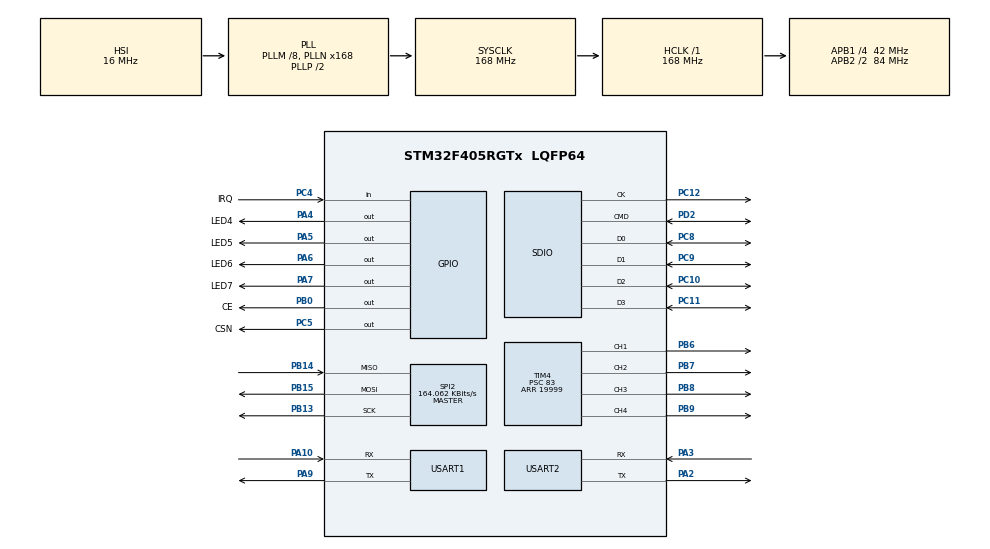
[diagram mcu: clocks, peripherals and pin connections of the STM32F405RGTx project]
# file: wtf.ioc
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Dma.Request0=SDIO
Dma.Request1=USART2_RX
Dma.SDIO.0.Direction=DMA_PERIPH_TO_MEMORY
Dma.SDIO.0.FIFOMode=DMA_FIFOMODE_ENABLE
Dma.SDIO.0.FIFOThreshold=DMA_FIFO_THRESHOLD_FULL
Dma.SDIO.0.Instance=DMA2_Stream3
Dma.SDIO.0.MemBurst=DMA_MBURST_INC4
Dma.SDIO.0.MemDataAlignment=DMA_MDATAALIGN_WORD
Dma.SDIO.0.MemInc=DMA_MINC_ENABLE
Dma.SDIO.0.Mode=DMA_PFCTRL
Dma.SDIO.0.PeriphBurst=DMA_PBURST_INC4
Dma.SDIO.0.PeriphDataAlignment=DMA_PDATAALIGN_WORD
Dma.SDIO.0.PeriphInc=DMA_PINC_DISABLE
Dma.SDIO.0.Priority=DMA_PRIORITY_HIGH
Dma.USART2_RX.1.Direction=DMA_PERIPH_TO_MEMORY
Dma.USART2_RX.1.FIFOMode=DMA_FIFOMODE_DISABLE
Dma.USART2_RX.1.Instance=DMA1_Stream5
Dma.USART2_RX.1.MemDataAlignment=DMA_MDATAALIGN_BYTE
Dma.USART2_RX.1.MemInc=DMA_MINC_ENABLE
Dma.USART2_RX.1.Mode=DMA_NORMAL
Dma.USART2_RX.1.PeriphDataAlignment=DMA_PDATAALIGN_BYTE
Dma.USART2_RX.1.PeriphInc=DMA_PINC_DISABLE
Dma.USART2_RX.1.Priority=DMA_PRIORITY_VERY_HIGH
FATFS._CODE_PAGE=936
FATFS._FS_NORTC=1
FATFS._FS_RPATH=2
FATFS._NORTC_MDAY=17
FATFS._NORTC_MON=7
FATFS._NORTC_YEAR=2017
FATFS._USE_LFN=2
Mcu.Family=STM32F4
Mcu.Name=STM32F405RGTx
Mcu.Package=LQFP64
NVIC.DMA1_Stream5_IRQn=true\:0\:2\:false\:false\:true
NVIC.DMA2_Stream3_IRQn=true\:2\:3\:true\:false\:true
NVIC.PriorityGroup=NVIC_PRIORITYGROUP_2
NVIC.SDIO_IRQn=true\:1\:3\:true\:false\:true
NVIC.TIM1_UP_TIM10_IRQn=true\:1\:2\:true\:false\:true
NVIC.TIM2_IRQn=true\:1\:1\:true\:false\:true
NVIC.TIM3_IRQn=true\:1\:0\:true\:false\:true
NVIC.USART2_IRQn=true\:0\:1\:true\:false\:true
PA10.Mode=Asynchronous
PA10.Signal=USART1_RX
PA2.Mode=Asynchronous
PA2.Signal=USART2_TX
PA3.Mode=Asynchronous
PA3.Signal=USART2_RX
PA4.GPIO_Label=LED4
PA4.GPIO_PuPd=GPIO_PULLUP
PA4.GPIO_Speed=GPIO_SPEED_FREQ_HIGH
PA4.Signal=GPIO_Output
PA5.GPIO_Label=LED5
PA5.GPIO_PuPd=GPIO_PULLUP
PA5.GPIO_Speed=GPIO_SPEED_FREQ_HIGH
PA5.Signal=GPIO_Output
PA6.GPIO_Label=LED6
PA6.GPIO_PuPd=GPIO_PULLUP
PA6.GPIO_Speed=GPIO_SPEED_FREQ_HIGH
PA6.Signal=GPIO_Output
PA7.GPIO_Label=LED7
PA7.GPIO_PuPd=GPIO_PULLUP
PA7.GPIO_Speed=GPIO_SPEED_FREQ_HIGH
PA7.Signal=GPIO_Output
PA9.Mode=Asynchronous
PA9.Signal=USART1_TX
PB0.GPIO_Label=CE
PB0.GPIO_Speed=GPIO_SPEED_FREQ_HIGH
PB0.PinState=GPIO_PIN_SET
PB0.Signal=GPIO_Output
PB13.Mode=Full_Duplex_Master
PB13.Signal=SPI2_SCK
PB14.Mode=Full_Duplex_Master
PB14.Signal=SPI2_MISO
PB15.Mode=Full_Duplex_Master
PB15.Signal=SPI2_MOSI
PB6.Signal=S_TIM4_CH1
PB7.Signal=S_TIM4_CH2
PB8.Signal=S_TIM4_CH3
PB9.Signal=S_TIM4_CH4
PC10.Mode=SD_4_bits_Wide_bus
PC10.Signal=SDIO_D2
PC11.Mode=SD_4_bits_Wide_bus
PC11.Signal=SDIO_D3
PC12.Mode=SD_4_bits_Wide_bus
PC12.Signal=SDIO_CK
PC14-OSC32_IN.Mode=LSE-External-Oscillator
PC14-OSC32_IN.Signal=RCC_OSC32_IN
PC15-OSC32_OUT.Mode=LSE-External-Oscillator
PC15-OSC32_OUT.Signal=RCC_OSC32_OUT
PC4.GPIO_Label=IRQ
PC4.Signal=GPIO_Input
PC5.GPIO_Label=CSN
PC5.GPIO_Speed=GPIO_SPEED_FREQ_HIGH
PC5.PinState=GPIO_PIN_SET
PC5.Signal=GPIO_Output
PC8.Mode=SD_4_bits_Wide_bus
PC8.Signal=SDIO_D0
PC9.Mode=SD_4_bits_Wide_bus
PC9.Signal=SDIO_D1
PD2.Mode=SD_4_bits_Wide_bus
PD2.Signal=SDIO_CMD
PH0-OSC_IN.Mode=HSE-External-Oscillator
PH0-OSC_IN.Signal=RCC_OSC_IN
PH1-OSC_OUT.Mode=HSE-External-Oscillator
PH1-OSC_OUT.Signal=RCC_OSC_OUT
ProjectManager.HeapSize=0x200
ProjectManager.StackSize=0x400
ProjectManager.TargetToolchain=MDK-ARM V5
RCC.48MHZClocksFreq_Value=48000000
RCC.AHBFreq_Value=168000000
RCC.APB1CLKDivider=RCC_HCLK_DIV4
RCC.APB1Freq_Value=42000000
RCC.APB1TimFreq_Value=84000000
RCC.APB2CLKDivider=RCC_HCLK_DIV2
RCC.APB2Freq_Value=84000000
RCC.APB2TimFreq_Value=168000000
RCC.CortexFreq_Value=168000000
RCC.HCLKFreq_Value=168000000
RCC.HSE_VALUE=8000000
RCC.HSI_VALUE=16000000
RCC.PLLM=8
RCC.PLLN=168
RCC.PLLQ=7
RCC.SYSCLKFreq_VALUE=168000000
RCC.SYSCLKSource=RCC_SYSCLKSOURCE_PLLCLK
RCC.VCOOutputFreq_Value=336000000
SDIO.ClockDiv=2
SH.S_TIM4_CH1.0=TIM4_CH1,PWM Generation1 CH1
SH.S_TIM4_CH2.0=TIM4_CH2,PWM Generation2 CH2
SH.S_TIM4_CH3.0=TIM4_CH3,PWM Generation3 CH3
SH.S_TIM4_CH4.0=TIM4_CH4,PWM Generation4 CH4
SPI2.BaudRatePrescaler=SPI_BAUDRATEPRESCALER_256
SPI2.CalculateBaudRate=164.062 KBits/s
SPI2.Direction=SPI_DIRECTION_2LINES
SPI2.Mode=SPI_MODE_MASTER
SPI2.VirtualType=VM_MASTER
TIM1.Period=10
TIM1.Prescaler=83
TIM2.Period=10
TIM2.Prescaler=83
TIM3.Period=1000
TIM3.Prescaler=83
TIM4.Channel-PWM\ Generation1\ CH1=TIM_CHANNEL_1
TIM4.Channel-PWM\ Generation2\ CH2=TIM_CHANNEL_2
TIM4.Channel-PWM\ Generation3\ CH3=TIM_CHANNEL_3
TIM4.Channel-PWM\ Generation4\ CH4=TIM_CHANNEL_4
TIM4.Period=19999
TIM4.Prescaler=83
USART1.VirtualMode=VM_ASYNC
USART2.VirtualMode=VM_ASYNC
VP_FATFS_VS_SDIO.Mode=SDIO
VP_TIM1_VS_ClockSourceINT.Mode=Internal
VP_TIM2_VS_ClockSourceINT.Mode=Internal
VP_TIM3_VS_ClockSourceINT.Mode=Internal
board=wtf

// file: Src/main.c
/**
  ******************************************************************************
  * File Name          : main.c
  * Description        : Main program body
  ******************************************************************************
  * This notice applies to any and all portions of this file
  * that are not between comment pairs USER CODE BEGIN and
  * USER CODE END. Other portions of this file, whether
  * inserted by the user or by software development tools
  * are owned by their respective copyright owners.
  *
  * Copyright (c) 2017 STMicroelectronics International N.V.
  * All rights reserved.
  *
  * Redistribution and use in source and binary forms, with or without
  * modification, are permitted, provided that the following conditions are met:
  *
  * 1. Redistribution of source code must retain the above copyright notice,
  *    this list of conditions and the following disclaimer.
  * 2. Redistributions in binary form must reproduce the above copyright notice,
  *    this list of conditions and the following disclaimer in the documentation
  *    and/or other materials provided with the distribution.
  * 3. Neither the name of STMicroelectronics nor the names of other
  *    contributors to this software may be used to endorse or promote products
  *    derived from this software without specific written permission.
  * 4. This software, including modifications and/or derivative works of this
  *    software, must execute solely and exclusively on microcontroller or
  *    microprocessor devices manufactured by or for STMicroelectronics.
  * 5. Redistribution and use of this software other than as permitted under
  *    this license is void and will automatically terminate your rights under
  *    this license.
  *
  * THIS SOFTWARE IS PROVIDED BY STMICROELECTRONICS AND CONTRIBUTORS "AS IS"
  * AND ANY EXPRESS, IMPLIED OR STATUTORY WARRANTIES, INCLUDING, BUT NOT
  * LIMITED TO, THE IMPLIED WARRANTIES OF MERCHANTABILITY, FITNESS FOR A
  * PARTICULAR PURPOSE AND NON-INFRINGEMENT OF THIRD PARTY INTELLECTUAL PROPERTY
  * RIGHTS ARE DISCLAIMED TO THE FULLEST EXTENT PERMITTED BY LAW. IN NO EVENT
  * SHALL STMICROELECTRONICS OR CONTRIBUTORS BE LIABLE FOR ANY DIRECT, INDIRECT,
  * INCIDENTAL, SPECIAL, EXEMPLARY, OR CONSEQUENTIAL DAMAGES (INCLUDING, BUT NOT
  * LIMITED TO, PROCUREMENT OF SUBSTITUTE GOODS OR SERVICES; LOSS OF USE, DATA,
  * OR PROFITS; OR BUSINESS INTERRUPTION) HOWEVER CAUSED AND ON ANY THEORY OF
  * LIABILITY, WHETHER IN CONTRACT, STRICT LIABILITY, OR TORT (INCLUDING
  * NEGLIGENCE OR OTHERWISE) ARISING IN ANY WAY OUT OF THE USE OF THIS SOFTWARE,
  * EVEN IF ADVISED OF THE POSSIBILITY OF SUCH DAMAGE.
  *
  ******************************************************************************
  */
#include "main.h"
#include "stm32f4xx_hal.h"
#include "dma.h"
//#include "fatfs.h"
#include "sdio.h"
#include "spi.h"
#include "tim.h"
#include "usart.h"
#include "gpio.h"
#include "pid.h"

/* USER CODE BEGIN PV */
/* Private variables ---------------------------------------------------------*/

/* USER CODE END PV */

void SystemClock_Config(void);

/* USER CODE BEGIN PFP */
/* Private function prototypes -----------------------------------------------*/
uint8_t _1ms();
uint8_t _10ms();
uint8_t _50ms();
uint8_t _100ms();
uint8_t _1s();
/* USER CODE END PFP */

/* USER CODE BEGIN 0 */

uint8_t flag_1ms=0,flag_10ms=0,flag_50ms=0,flag_100ms=0,flag_1s=0;
uint8_t LOCK=1; //是否解锁飞行器
uint8_t sensor_data[11];   //传感器接收数组
uint8_t control_data[32];  //遥控器接收数组
uint16_t tim2_base=0;    //tim2计数变量
uint16_t control_speed=350; //来自遥控器的油门
uint16_t last_speed=1000;
/* USER CODE END 0 */

int main(void)
{

  /* MCU Configuration----------------------------------------------------------*/

  /* Reset of all peripherals, Initializes the Flash interface and the Systick. */
  HAL_Init();

  /* Configure the system clock */
  SystemClock_Config();

  /* Initialize all configured peripherals */
  MX_GPIO_Init();
  MX_DMA_Init();
  MX_SDIO_SD_Init();
  //MX_FATFS_Init();
  MX_TIM1_Init();
  MX_TIM2_Init();
  MX_TIM3_Init();
  MX_TIM4_Init();
  MX_USART1_UART_Init();
  MX_USART2_UART_Init();
  MX_SPI2_Init();

  /* USER CODE BEGIN 2 */
	//外设初始化
	HAL_GPIO_WritePin(GPIOA,LED4_Pin,GPIO_PIN_SET);
	HAL_TIM_Base_Start_IT(&htim2);
	HAL_TIM_Base_Start_IT(&htim3);
	HAL_UART_Receive_DMA(&huart2,sensor_data,11);
	HAL_GPIO_WritePin(GPIOA,LED7_Pin,GPIO_PIN_SET);
	NRF24L01_Init();
	while(NRF24L01_Check());
	NRF24L01_RX_Mode();
	HAL_GPIO_WritePin(GPIOA,LED7_Pin,GPIO_PIN_RESET);
	TIM4_PWM_Open();
	//关闭电机
	set_motor_speed(1000,1000,1000,1000);
  /* USER CODE END 2 */

  /* Infinite loop */
  while (1)
  {

  /* USER CODE BEGIN 3 */
		//printf("%d, %d, %d, %d, %d, %d, %d, %d\r\n",control_data[0],control_data[1],control_data[2],control_data[3],control_data[4],control_data[5],control_data[6],control_data[7]);
		//printf("pitch: %.3f   row: %.3f   yao: %.3f\r\n",sensor_value.ang_p,sensor_value.ang_r,sensor_value.ang_y);
		//printf("accx: %.3f   accy: %.3f   accz: %.3f\r\n",sensor_value.acc_x,sensor_value.acc_y,sensor_value.acc_z);

		pid_value.row=0;
		pid_value.pitch=0;
		pid_value.core_d=9.5;
		pid_value.core_i=0.012;
		pid_value.core_p=1.191;
		pid_value.shell_d=0;
		pid_value.shell_i=0;
		pid_value.shell_p=0;
		pid_value.yaw=0;

		//1ms周期任务
		if(_1ms())
		{

		}
		//10ms周期任务
		if(_10ms())
		{
			//pid
			if(!LOCK)
				PID_Control();
			else
				set_motor_speed(1000,1000,1000,1000);
		}
		//50ms周期任务
		if(_50ms())
		{
			if(NRF24L01_RxPacket(control_data)==0)
			{
				control_data_analysis(control_data);
				//set_motor_speed(BASE_SPEED+control_speed,BASE_SPEED+control_speed,BASE_SPEED+control_speed,BASE_SPEED+control_speed);
				HAL_GPIO_WritePin(GPIOA,LED6_Pin,GPIO_PIN_SET);
				//printf("speed: %d",control_speed);
			}
			else
			{
				HAL_GPIO_WritePin(GPIOA,LED6_Pin,GPIO_PIN_RESET);
				//printf("no recive\r\n");
			}
		}
		//100ms周期任务
		if(_100ms())
		{

		}
		//1s周期任务
		if(_1s())
		{

		}
  }
  /* USER CODE END 3 */

}

/** System Clock Configuration
*/
void SystemClock_Config(void)
{

  RCC_OscInitTypeDef RCC_OscInitStruct;
  RCC_ClkInitTypeDef RCC_ClkInitStruct;

    /**Configure the main internal regulator output voltage
    */
  __HAL_RCC_PWR_CLK_ENABLE();

  __HAL_PWR_VOLTAGESCALING_CONFIG(PWR_REGULATOR_VOLTAGE_SCALE1);

    /**Initializes the CPU, AHB and APB busses clocks
    */
  RCC_OscInitStruct.OscillatorType = RCC_OSCILLATORTYPE_HSI;
  RCC_OscInitStruct.HSIState = RCC_HSI_ON;
  RCC_OscInitStruct.HSICalibrationValue = 16;
  RCC_OscInitStruct.PLL.PLLState = RCC_PLL_ON;
  RCC_OscInitStruct.PLL.PLLSource = RCC_PLLSOURCE_HSI;
  RCC_OscInitStruct.PLL.PLLM = 8;
  RCC_OscInitStruct.PLL.PLLN = 168;
  RCC_OscInitStruct.PLL.PLLP = RCC_PLLP_DIV2;
  RCC_OscInitStruct.PLL.PLLQ = 7;
  if (HAL_RCC_OscConfig(&RCC_OscInitStruct) != HAL_OK)
  {
    _Error_Handler(__FILE__, __LINE__);
  }

    /**Initializes the CPU, AHB and APB busses clocks
    */
  RCC_ClkInitStruct.ClockType = RCC_CLOCKTYPE_HCLK|RCC_CLOCKTYPE_SYSCLK
                              |RCC_CLOCKTYPE_PCLK1|RCC_CLOCKTYPE_PCLK2;
  RCC_ClkInitStruct.SYSCLKSource = RCC_SYSCLKSOURCE_PLLCLK;
  RCC_ClkInitStruct.AHBCLKDivider = RCC_SYSCLK_DIV1;
  RCC_ClkInitStruct.APB1CLKDivider = RCC_HCLK_DIV4;
  RCC_ClkInitStruct.APB2CLKDivider = RCC_HCLK_DIV2;

  if (HAL_RCC_ClockConfig(&RCC_ClkInitStruct, FLASH_LATENCY_5) != HAL_OK)
  {
    _Error_Handler(__FILE__, __LINE__);
  }

    /**Configure the Systick interrupt time
    */
  HAL_SYSTICK_Config(HAL_RCC_GetHCLKFreq()/1000);

    /**Configure the Systick
    */
  HAL_SYSTICK_CLKSourceConfig(SYSTICK_CLKSOURCE_HCLK);

  /* SysTick_IRQn interrupt configuration */
  HAL_NVIC_SetPriority(SysTick_IRQn, 0, 0);
}

/* USER CODE BEGIN 4 */
//串口回调
void HAL_UART_RxCpltCallback(UART_HandleTypeDef *huart)
{
	if(huart->Instance==USART2)
	{
		HAL_UART_Receive_DMA(huart,sensor_data,11);
		copy_IMU_data(sensor_data);
	}
}

//定时器回调
uint16_t _1ms_count=1,_10us_count=0;
void HAL_TIM_PeriodElapsedCallback(TIM_HandleTypeDef *htim)
{
	if(htim->Instance==TIM1)
	{

	}
	else if(htim->Instance==TIM2)    //周期任务计时器
	{
		tim2_base++;
		if((tim2_base%1)==0)
			flag_1ms=1;
		if((tim2_base%10)==0)
			flag_10ms=1;
		if((tim2_base%50)==0)
			flag_50ms=1;
		if((tim2_base%100)==0)
			flag_100ms=1;
		if(tim2_base==1000)
		{
			flag_1s=1;
			tim2_base=0;
		}
	}
	else if(htim->Instance==TIM3)    //系统灯计时器
	{
		if(_1ms_count==1) {HAL_GPIO_WritePin(GPIOA,LED4_Pin,GPIO_PIN_SET);_1ms_count++;}
		else if(_1ms_count==70) {HAL_GPIO_WritePin(GPIOA,LED4_Pin,GPIO_PIN_RESET);_1ms_count++;}
		else if(_1ms_count==1000) _1ms_count=1;
		else _1ms_count++;
	}
}

uint8_t _1ms()
{
	if(flag_1ms)
	{
		flag_1ms=0;
		return 1;
	}
	else
		return 0;
}
uint8_t _10ms()
{
	if(flag_10ms)
	{
		flag_10ms=0;
		return 1;
	}
	else
		return 0;
}
uint8_t _50ms()
{
	if(flag_50ms)
	{
		flag_50ms=0;
		return 1;
	}
	else
		return 0;
}
uint8_t _100ms()
{
	if(flag_100ms)
	{
		flag_100ms=0;
		return 1;
	}
	else
		return 0;
}
uint8_t _1s()
{
	if(flag_1s)
	{
		flag_1s=0;
		return 1;
	}
	else
		return 0;
}
/* USER CODE END 4 */

void _Error_Handler(char * file, int line)
{
  while(1)
  {
  }
}

/************************ (C) COPYRIGHT STMicroelectronics *****END OF FILE****/
